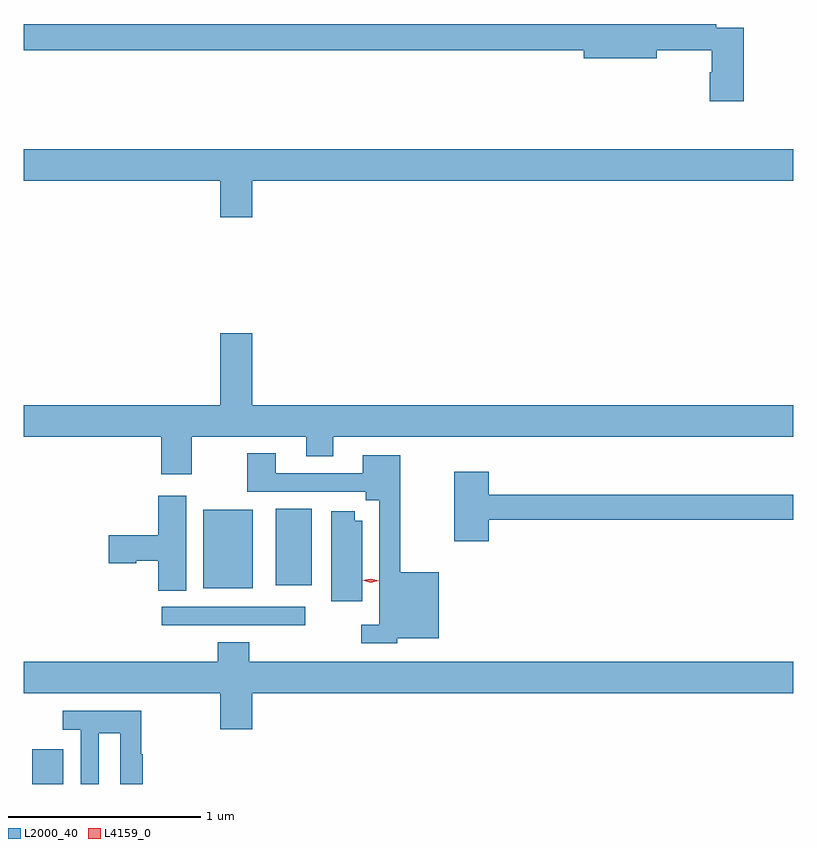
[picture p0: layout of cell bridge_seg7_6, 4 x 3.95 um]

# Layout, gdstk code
import gdstk
lib = gdstk.Library(unit=1e-6, precision=1e-09)
def R(c, l, rs):  # rectangles x0, y0, x1, y1
    for r in rs: c.add(gdstk.rectangle(r[:2], r[2:], *l))
def P(c, l, *ps):  # polygons
    for p in ps: c.add(gdstk.Polygon(p, *l))
L2000_40 = (2000, 40)
L4159_0 = (4159, 0)

bridge_seg7_6 = lib.new_cell('bridge_seg7_6')
R(bridge_seg7_6, L2000_40, [(1027.166,1077.399,1027.327,1077.58), (1027.839,1078.224,1028.584,1078.32), (1028.054,1078.418,1028.311,1078.825), (1028.432,1078.433,1028.62,1078.831)])
P(bridge_seg7_6, L2000_40, [(1030.866,1081.332),(1030.724,1081.332),(1030.724,1081.352),(1027.122,1081.352),(1027.122,1081.216),(1030.034,1081.216),(1030.034,1081.174),(1030.414,1081.174),(1030.414,1081.216),(1030.7,1081.216),(1030.7,1081.101),(1030.688,1081.101),(1030.688,1080.951),(1030.866,1080.951)],
  [(1028.308,1080.536),(1031.122,1080.536),(1031.122,1080.7),(1027.122,1080.7),(1027.122,1080.536),(1028.144,1080.536),(1028.144,1080.348),(1028.308,1080.348)],
  [(1027.995,1079.204),(1028.591,1079.204),(1028.591,1079.105),(1028.731,1079.105),(1028.731,1079.204),(1031.122,1079.204),(1031.122,1079.368),(1028.308,1079.368),(1028.308,1079.743),(1028.144,1079.743),(1028.144,1079.368),(1027.122,1079.368),(1027.122,1079.204),(1027.835,1079.204),(1027.835,1079.01),(1027.995,1079.01)],
  [(1029.063,1078.157),(1029.28,1078.157),(1029.28,1078.501),(1029.079,1078.501),(1029.079,1079.11),(1028.885,1079.11),(1028.885,1079.016),(1028.431,1079.016),(1028.431,1079.119),(1028.284,1079.119),(1028.284,1078.92),(1028.9,1078.92),(1028.9,1078.874),(1028.97,1078.874),(1028.97,1078.227),(1028.877,1078.227),(1028.877,1078.131),(1029.063,1078.131)],
  [(1029.539,1078.774),(1031.122,1078.774),(1031.122,1078.903),(1029.539,1078.903),(1029.539,1079.023),(1029.361,1079.023),(1029.361,1078.662),(1029.539,1078.662)],
  [(1027.966,1078.897),(1027.82,1078.897),(1027.82,1078.694),(1027.563,1078.694),(1027.563,1078.547),(1027.706,1078.547),(1027.706,1078.559),(1027.82,1078.559),(1027.82,1078.405),(1027.966,1078.405)],
  [(1028.881,1078.768),(1028.842,1078.768),(1028.842,1078.817),(1028.72,1078.817),(1028.72,1078.35),(1028.881,1078.35)],
  [(1028.129,1078.036),(1027.122,1078.036),(1027.122,1077.872),(1028.144,1077.872),(1028.144,1077.684),(1028.308,1077.684),(1028.308,1077.872),(1031.122,1077.872),(1031.122,1078.036),(1028.294,1078.036),(1028.294,1078.135),(1028.129,1078.135)],
  [(1027.512,1077.664),(1027.623,1077.664),(1027.623,1077.399),(1027.739,1077.399),(1027.739,1077.555),(1027.732,1077.555),(1027.732,1077.78),(1027.323,1077.78),(1027.323,1077.68),(1027.416,1077.68),(1027.416,1077.399),(1027.512,1077.399)])
P(bridge_seg7_6, L4159_0, [(1028.925,1078.447),(1028.884,1078.458),(1028.884,1078.458),(1028.884,1078.458),(1028.926,1078.467),(1028.966,1078.455),(1028.967,1078.455),(1028.966,1078.455)])

lib.write_gds('bridge_seg7_6.gds')
